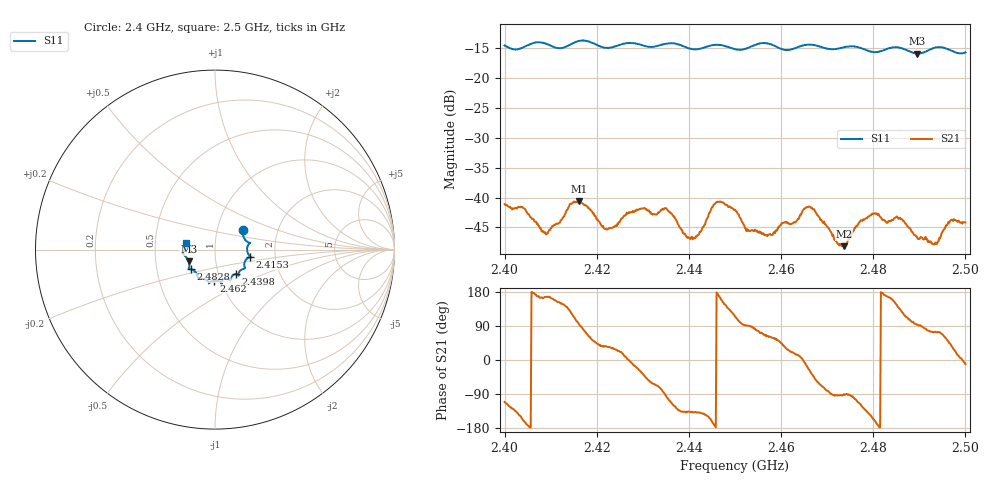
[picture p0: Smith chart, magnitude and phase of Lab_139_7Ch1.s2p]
# Hz S RI R 50
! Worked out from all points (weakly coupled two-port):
!   601 points, 2.4 GHz to 2.5 GHz, reference 50 ohm
!   highest |S21| = -40.65 dB at 2.4162 GHz (marker M1); lowest = -48.1 dB at 2.4737 GHz (marker M2)
!   lowest |S11| = -15.9 dB at 2.4895 GHz (marker M3), VSWR 1.38, Z = 36.9 - j5 ohm
!   |S11| at or under -10 dB: start of sweep to end of sweep
!   S12 and S22 are empty: the file has one direction only
!   S11 on the Smith chart (normalised r, x): 2.4 GHz: 1.33, +0.29; 2.4153 GHz: 1.48, -0.12; 2.4398 GHz: 1.21, -0.34; 2.462 GHz: 0.93, -0.33; 2.4828 GHz: 0.74, -0.17; 2.5 GHz: 0.72, +0.06
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2.4e9  0.155 0.1066  -0.00313 -0.00824  0 0  0 0
2.409e9  0.1915 0.034  -0.00477 0.00114  0 0  0 0
2.415333e9  0.1965 -0.0386  -0.00286 0.00865  0 0  0 0
2.416167e9  0.2009 -0.0419  -0.000715 0.00925  0 0  0 0
2.416667e9  0.2023 -0.0428  0.000427 0.00906  0 0  0 0
2.422e9  0.1676 -0.0639  0.00441 0.00318  0 0  0 0
2.433333e9  0.1311 -0.1336  0.00265 -0.00703  0 0  0 0
2.435333e9  0.1313 -0.1444  -0.0014 -0.00774  0 0  0 0
2.439833e9  0.1155 -0.1363  -0.00335 -0.00322  0 0  0 0
2.446e9  0.0846 -0.1708  -0.00915 0.000258  0 0  0 0
2.45e9  0.0648 -0.1626  -0.00327 0.00719  0 0  0 0
2.456667e9  0.0389 -0.1929  0.0019 0.00444  0 0  0 0
2.462e9  -0.00516 -0.1731  0.00556 0.00234  0 0  0 0
2.466667e9  -0.0343 -0.1878  0.00656 -0.00498  0 0  0 0
2.473667e9  -0.0855 -0.1603  -2.5e-05 -0.00391  0 0  0 0
2.479333e9  -0.1049 -0.1304  -0.00578 -0.00407  0 0  0 0
2.482833e9  -0.1364 -0.1095  -0.00608 0.00121  0 0  0 0
2.483333e9  -0.1401 -0.1092  -0.00619 0.00155  0 0  0 0
2.4895e9  -0.1464 -0.066  -0.000241 0.00468  0 0  0 0
2.493333e9  -0.1781 -0.0256  0.00109 0.00391  0 0  0 0
2.496667e9  -0.172 -0.0104  0.00462 0.00436  0 0  0 0
2.5e9  -0.1595 0.039  0.00608 -0.00117  0 0  0 0
